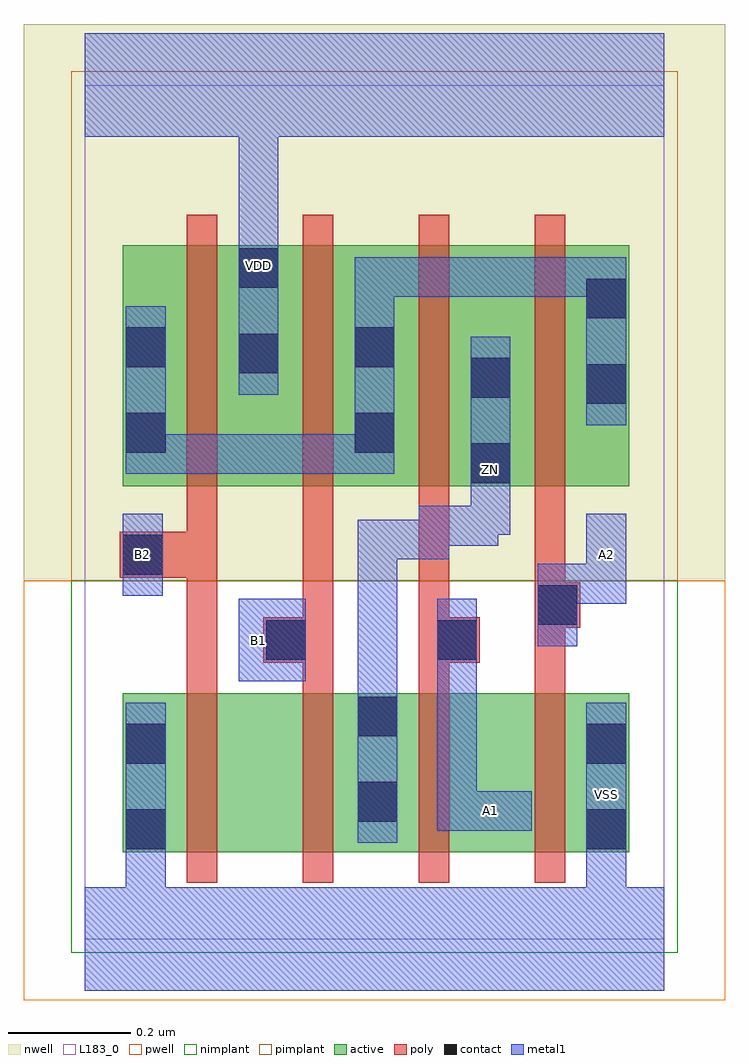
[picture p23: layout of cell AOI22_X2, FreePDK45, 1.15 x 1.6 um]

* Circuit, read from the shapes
.subckt AOI22_X2 A1 A2 B1 B2 VDD VSS ZN
M1 n1 B2 VSS VSUBS nfet w=0.26u l=0.05u
M2 ZN B1 n1 VSUBS nfet w=0.26u l=0.05u
M3 n2 A1 ZN VSUBS nfet w=0.26u l=0.05u
M4 VSS A2 n2 VSUBS nfet w=0.26u l=0.05u
M5 VDD B2 n3 n4 pfet w=0.395u l=0.05u
M6 n3 B1 VDD n4 pfet w=0.395u l=0.05u
M7 ZN A1 n3 n4 pfet w=0.395u l=0.05u
M8 n3 A2 ZN n4 pfet w=0.395u l=0.05u
.ends

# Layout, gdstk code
import gdstk
lib = gdstk.Library(unit=1e-6, precision=1e-10)
def R(c, l, rs):  # rectangles x0, y0, x1, y1
    for r in rs: c.add(gdstk.rectangle(r[:2], r[2:], *l))
def P(c, l, *ps):  # polygons
    for p in ps: c.add(gdstk.Polygon(p, *l))
active = (1, 0)
pwell = (2, 0)
nwell = (3, 0)
nimplant = (4, 0)
pimplant = (5, 0)
poly = (9, 0)
contact = (10, 0)
metal1 = (11, 0)
L183_0 = (183, 0)

aoi22_x2 = lib.new_cell('AOI22_X2')
P(aoi22_x2, active, [(0.0625,0.1425),(0.1675,0.1425),(0.2175,0.1425),(0.3575,0.1425),(0.4075,0.1425),(0.5475,0.1425),(0.5975,0.1425),(0.7375,0.1425),(0.7875,0.1425),(0.8925,0.1425),(0.8925,0.4025),(0.7875,0.4025),(0.7375,0.4025),(0.5975,0.4025),(0.5475,0.4025),(0.4075,0.4025),(0.3575,0.4025),(0.2175,0.4025),(0.1675,0.4025),(0.0625,0.4025)],
  [(0.0625,0.7425),(0.1675,0.7425),(0.2175,0.7425),(0.3575,0.7425),(0.4075,0.7425),(0.5475,0.7425),(0.5975,0.7425),(0.7375,0.7425),(0.7875,0.7425),(0.8925,0.7425),(0.8925,1.1375),(0.7875,1.1375),(0.7375,1.1375),(0.5975,1.1375),(0.5475,1.1375),(0.4075,1.1375),(0.3575,1.1375),(0.2175,1.1375),(0.1675,1.1375),(0.0625,1.1375)])
P(aoi22_x2, pwell, [(-0.1,-0.1),(1.05,-0.1),(1.05,0.5875),(0.85,0.5875),(0.1,0.5875),(-0.1,0.5875)])
P(aoi22_x2, nwell, [(-0.1,0.5875),(0.1,0.5875),(0.85,0.5875),(1.05,0.5875),(1.05,1.5),(-0.1,1.5)])
R(aoi22_x2, nimplant, [(-0.0225,-0.0225,0.9725,0.5875)])
R(aoi22_x2, pimplant, [(-0.0225,0.5875,0.9725,1.4225)])
P(aoi22_x2, poly, [(0.0575,0.5925),(0.1675,0.5925),(0.1675,0.4025),(0.1675,0.1425),(0.1675,0.0925),(0.2175,0.0925),(0.2175,0.1425),(0.2175,0.4025),(0.2175,0.7425),(0.2175,1.1375),(0.2175,1.1875),(0.1675,1.1875),(0.1675,1.1375),(0.1675,0.7425),(0.1675,0.6675),(0.0575,0.6675)],
  [(0.2925,0.4525),(0.3575,0.4525),(0.3575,0.4025),(0.3575,0.1425),(0.3575,0.0925),(0.4075,0.0925),(0.4075,0.1425),(0.4075,0.4025),(0.4075,0.7425),(0.4075,1.1375),(0.4075,1.1875),(0.3575,1.1875),(0.3575,1.1375),(0.3575,0.7425),(0.3575,0.5275),(0.2925,0.5275)],
  [(0.5475,0.0925),(0.5975,0.0925),(0.5975,0.1425),(0.5975,0.4025),(0.5975,0.4525),(0.6475,0.4525),(0.6475,0.5275),(0.5975,0.5275),(0.5975,0.7425),(0.5975,1.1375),(0.5975,1.1875),(0.5475,1.1875),(0.5475,1.1375),(0.5475,0.7425),(0.5475,0.4025),(0.5475,0.1425)],
  [(0.7375,0.0925),(0.7875,0.0925),(0.7875,0.1425),(0.7875,0.4025),(0.7875,0.51),(0.8125,0.51),(0.8125,0.585),(0.7875,0.585),(0.7875,0.7425),(0.7875,1.1375),(0.7875,1.1875),(0.7375,1.1875),(0.7375,1.1375),(0.7375,0.7425),(0.7375,0.4025),(0.7375,0.1425)])
R(aoi22_x2, contact, [(0.0675,0.1475,0.1325,0.2125), (0.8225,0.1475,0.8875,0.2125), (0.4475,0.1925,0.5125,0.2575), (0.0675,0.2875,0.1325,0.3525), (0.8225,0.2875,0.8875,0.3525), (0.4475,0.3325,0.5125,0.3975), (0.2975,0.4575,0.3625,0.5225), (0.5775,0.4575,0.6425,0.5225), (0.7425,0.515,0.8075,0.58), (0.0625,0.5975,0.1275,0.6625), (0.6325,0.7475,0.6975,0.8125), (0.0675,0.7975,0.1325,0.8625), (0.4425,0.7975,0.5075,0.8625), (0.8225,0.8775,0.8875,0.9425), (0.6325,0.8875,0.6975,0.9525), (0.2525,0.9275,0.3175,0.9925), (0.0675,0.9375,0.1325,1.0025), (0.4425,0.9375,0.5075,1.0025), (0.8225,1.0175,0.8875,1.0825), (0.2525,1.0675,0.3175,1.1325)])
R(aoi22_x2, metal1, [(0.2525,0.4225,0.3625,0.5575), (0.0625,0.5625,0.1275,0.6975)])
P(aoi22_x2, metal1, [(0.4475,0.1575),(0.5125,0.1575),(0.5125,0.6225),(0.5975,0.6225),(0.5975,0.645),(0.6775,0.645),(0.6775,0.6625),(0.6975,0.6625),(0.6975,0.9875),(0.6325,0.9875),(0.6325,0.71),(0.5475,0.71),(0.5475,0.6875),(0.4475,0.6875)],
  [(0.5775,0.1775),(0.7325,0.1775),(0.7325,0.2425),(0.6425,0.2425),(0.6425,0.5575),(0.5775,0.5575)],
  [(0.7425,0.48),(0.8075,0.48),(0.8075,0.55),(0.8875,0.55),(0.8875,0.6975),(0.8225,0.6975),(0.8225,0.615),(0.7425,0.615)],
  [(0.0675,0.7625),(0.5075,0.7625),(0.5075,1.0525),(0.8225,1.0525),(0.8225,0.8425),(0.8875,0.8425),(0.8875,1.1175),(0.4425,1.1175),(0.4425,0.8275),(0.1325,0.8275),(0.1325,1.0375),(0.0675,1.0375)],
  [(0,-0.085),(0.95,-0.085),(0.95,0.085),(0.8875,0.085),(0.8875,0.3875),(0.8225,0.3875),(0.8225,0.085),(0.1325,0.085),(0.1325,0.3875),(0.0675,0.3875),(0.0675,0.085),(0,0.085)],
  [(0,1.315),(0.2525,1.315),(0.2525,0.8925),(0.3175,0.8925),(0.3175,1.315),(0.95,1.315),(0.95,1.485),(0,1.485)])
R(aoi22_x2, L183_0, [(0,0,0.95,1.4)])
aoi22_x2.add(gdstk.Label('A1', (0.665,0.21), layer=11, texttype=0))
aoi22_x2.add(gdstk.Label('A2', (0.855,0.63), layer=11, texttype=0))
aoi22_x2.add(gdstk.Label('B1', (0.285,0.49), layer=11, texttype=0))
aoi22_x2.add(gdstk.Label('B2', (0.095,0.63), layer=11, texttype=0))
aoi22_x2.add(gdstk.Label('VDD', (0.285,1.1037), layer=11, texttype=0))
aoi22_x2.add(gdstk.Label('VSS', (0.855,0.2362), layer=11, texttype=0))
aoi22_x2.add(gdstk.Label('ZN', (0.665,0.77), layer=11, texttype=0))

lib.write_gds('AOI22_X2.gds')
